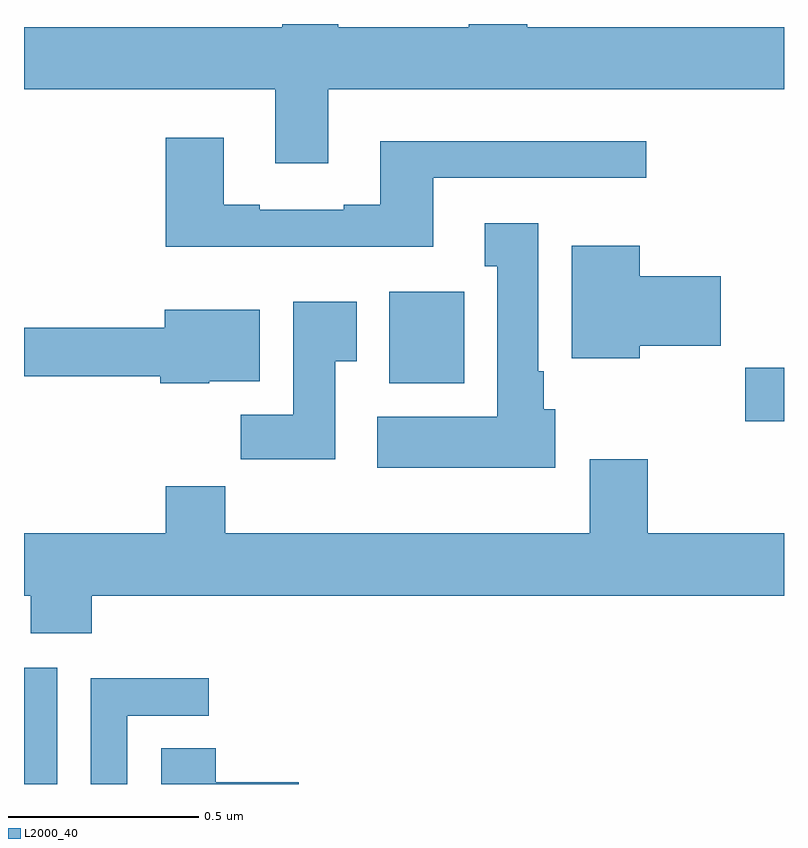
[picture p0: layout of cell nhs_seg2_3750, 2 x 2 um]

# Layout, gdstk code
import gdstk
lib = gdstk.Library(unit=1e-6, precision=1e-09)
def R(c, l, rs):  # rectangles x0, y0, x1, y1
    for r in rs: c.add(gdstk.rectangle(r[:2], r[2:], *l))
def P(c, l, *ps):  # polygons
    for p in ps: c.add(gdstk.Polygon(p, *l))
L2000_40 = (2000, 40)

nhs_seg2_3750 = lib.new_cell('nhs_seg2_3750')
R(nhs_seg2_3750, L2000_40, [(157,653.8,157.087,654.106), (158.898,654.754,159,654.896), (157.961,654.854,158.158,655.096)])
P(nhs_seg2_3750, L2000_40, [(157.801,655.628),(159,655.628),(159,655.792),(158.324,655.792),(158.324,655.8),(158.171,655.8),(158.171,655.792),(157.827,655.792),(157.827,655.8),(157.679,655.8),(157.679,655.792),(157,655.792),(157,655.628),(157.661,655.628),(157.661,655.434),(157.801,655.434)],
  [(158.077,655.395),(158.638,655.395),(158.638,655.492),(157.937,655.492),(157.937,655.324),(157.841,655.324),(157.841,655.311),(157.621,655.311),(157.621,655.324),(157.525,655.324),(157.525,655.501),(157.373,655.501),(157.373,655.214),(158.077,655.214)],
  [(158.398,654.786),(158.368,654.786),(158.368,654.886),(158.353,654.886),(158.353,655.276),(158.213,655.276),(158.213,655.163),(158.246,655.163),(158.246,654.766),(157.929,654.766),(157.929,654.632),(158.398,654.632)],
  [(158.62,654.953),(158.833,654.953),(158.833,655.136),(158.62,655.136),(158.62,655.216),(158.441,655.216),(158.441,654.92),(158.62,654.92)],
  [(157.819,654.913),(157.876,654.913),(157.876,655.069),(157.709,655.069),(157.709,654.772),(157.57,654.772),(157.57,654.654),(157.819,654.654)],
  [(157.488,654.86),(157.621,654.86),(157.621,655.048),(157.37,655.048),(157.37,655.001),(157,655.001),(157,654.873),(157.358,654.873),(157.358,654.854),(157.488,654.854)],
  [(157.178,654.296),(159,654.296),(159,654.46),(158.642,654.46),(158.642,654.655),(158.489,654.655),(158.489,654.46),(157.529,654.46),(157.529,654.584),(157.373,654.584),(157.373,654.46),(157,654.46),(157,654.296),(157.018,654.296),(157.018,654.197),(157.178,654.197)],
  [(157.272,653.979),(157.486,653.979),(157.486,654.078),(157.176,654.078),(157.176,653.8),(157.272,653.8)],
  [(157.723,653.804),(157.505,653.804),(157.505,653.894),(157.361,653.894),(157.361,653.8),(157.723,653.8)])

lib.write_gds('nhs_seg2_3750.gds')
